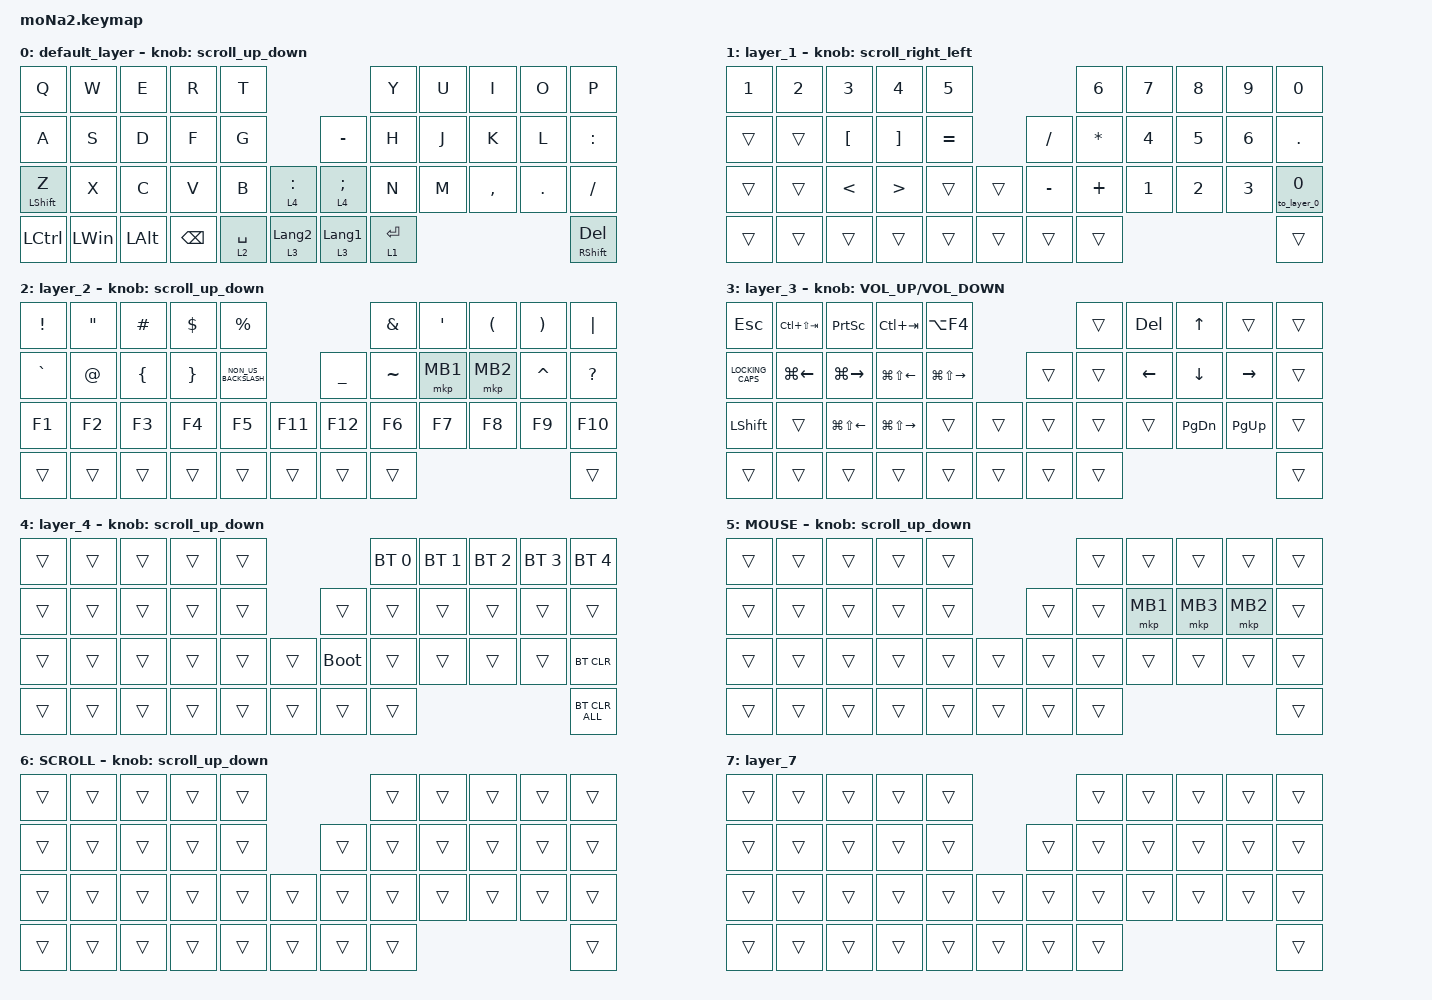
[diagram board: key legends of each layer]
#include <behaviors.dtsi>
#include <dt-bindings/zmk/bt.h>
#include <dt-bindings/zmk/keys.h>
#include <dt-bindings/zmk/pointing.h>

#define ZMK_POINTING_DEFAULT_SCRL_VAL 100
#define MOUSE 5
#define SCROLL 6

&mt {
    flavor = "balanced";
    quick-tap-ms = <0>;
};

/ {
    combos {
        compatible = "zmk,combos";

        layer4_esc {
            bindings = <&lt 3 ESCAPE>;
            key-positions = <38 39>;
        };

        tab {
            bindings = <&kp TAB>;
            key-positions = <11 11 12>;
        };
    };

    macros {
        to_layer_0: to_layer_0 {
            compatible = "zmk,behavior-macro-one-param";
            #binding-cells = <1>;
            bindings = <&to 0 &macro_param_1to1 &kp MACRO_PLACEHOLDER>;
            label = "TO_LAYER_0";
        };
    };

    behaviors {
        lt_to_layer_0: lt_to_layer_0 {
            compatible = "zmk,behavior-hold-tap";
            label = "LAYER_TAP_TO_0";
            bindings = <&mo>, <&to_layer_0>;

            #binding-cells = <2>;
            tapping-term-ms = <200>;
        };

        scroll_up_down: behavior_sensor_rotate_mouse_wheel_up_down {
            compatible = "zmk,behavior-sensor-rotate";
            #sensor-binding-cells = <0>;
            bindings = <&msc SCRL_UP>, <&msc SCRL_DOWN>;

            tap-ms = <20>;
        };

        scroll_right_left: behavior_sensor_rotate_mouse_wh {
            compatible = "zmk,behavior-sensor-rotate";
            label = "SCROLL_RIGHT_LEFT";
            #sensor-binding-cells = <0>;
            bindings = <&msc SCRL_LEFT>, <&msc SCRL_RIGHT>;

            tap-ms = <20>;
        };
    };

    keymap {
        compatible = "zmk,keymap";

        default_layer {
            bindings = <
&kp Q             &kp W         &kp E         &kp R          &kp T                                                              &kp Y        &kp U  &kp I      &kp O    &kp P
&kp A             &kp S         &kp D         &kp F          &kp G                                  &kp MINUS                   &kp H        &kp J  &kp K      &kp L    &kp COLON
&mt LEFT_SHIFT Z  &kp X         &kp C         &kp V          &kp B        &lt_to_layer_0 4 COLON    &lt_to_layer_0 4 SEMICOLON  &kp N        &kp M  &kp COMMA  &kp DOT  &kp SLASH
&kp LCTRL         &kp LEFT_WIN  &kp LEFT_ALT  &kp BACKSPACE  &lt 2 SPACE  &lt 3 LANGUAGE_2          &lt 3 LANGUAGE_1            &lt 1 ENTER                             &mt RIGHT_SHIFT DELETE
            >;

            sensor-bindings = <&scroll_up_down>;
        };

        layer_1 {
            bindings = <
&kp NUMBER_1  &kp NUMBER_2  &kp NUMBER_3      &kp NUMBER_4       &kp NUMBER_5                       &kp NUMBER_6  &kp NUMBER_7  &kp NUMBER_8  &kp NUMBER_9  &kp NUMBER_0
&trans        &trans        &kp LEFT_BRACKET  &kp RIGHT_BRACKET  &kp EQUAL               &kp SLASH  &kp ASTERISK  &kp NUMBER_4  &kp N5        &kp NUMBER_6  &kp PERIOD
&trans        &trans        &kp LESS_THAN     &kp GREATER_THAN   &trans        &trans    &kp MINUS  &kp PLUS      &kp NUMBER_1  &kp NUMBER_2  &kp NUMBER_3  &to_layer_0 N0
&trans        &trans        &trans            &trans             &trans        &trans    &trans     &trans                                                  &trans
            >;

            sensor-bindings = <&scroll_right_left>;
        };

        layer_2 {
            bindings = <
&kp EXCLAMATION  &kp DOUBLE_QUOTES  &kp HASH        &kp DOLLAR       &kp PERCENT                                      &kp AMPERSAND  &kp SQT   &kp LEFT_PARENTHESIS  &kp RIGHT_PARENTHESIS  &kp PIPE
&kp GRAVE        &kp AT_SIGN        &kp LEFT_BRACE  &kp RIGHT_BRACE  &kp NON_US_BACKSLASH             &kp UNDERSCORE  &kp TILDE      &mkp MB1  &mkp MB2              &kp CARET              &kp QUESTION
&kp F1           &kp F2             &kp F3          &kp F4           &kp F5                &kp F11    &kp F12         &kp F6         &kp F7    &kp F8                &kp F9                 &kp F10
&trans           &trans             &trans          &trans           &trans                &trans     &trans          &trans                                                                &trans
            >;

            sensor-bindings = <&scroll_up_down>;
        };

        layer_3 {
            bindings = <
&kp ESCAPE        &kp LC(LS(TAB))  &kp PRINTSCREEN   &kp LC(TAB)        &kp LA(F4)                           &trans  &kp DEL         &kp UP_ARROW    &trans       &trans
&kp LOCKING_CAPS  &kp LG(LEFT)     &kp LG(RIGHT)     &kp LG(LS(LEFT))   &kp LG(LS(RIGHT))            &trans  &trans  &kp LEFT_ARROW  &kp DOWN_ARROW  &kp RIGHT    &trans
&kp LEFT_SHIFT    &trans           &kp LG(LS(LEFT))  &kp LG(LS(RIGHT))  &trans             &trans    &trans  &trans  &trans          &kp PAGE_DOWN   &kp PAGE_UP  &trans
&trans            &trans           &trans            &trans             &trans             &trans    &trans  &trans                                               &trans
            >;

            sensor-bindings = <&inc_dec_kp C_VOLUME_UP C_VOLUME_DOWN>;
        };

        layer_4 {
            bindings = <
&trans  &trans  &trans  &trans  &trans                         &bt BT_SEL 0  &bt BT_SEL 1  &bt BT_SEL 2  &bt BT_SEL 3  &bt BT_SEL 4
&trans  &trans  &trans  &trans  &trans            &trans       &trans        &trans        &trans        &trans        &trans
&trans  &trans  &trans  &trans  &trans  &trans    &bootloader  &trans        &trans        &trans        &trans        &bt BT_CLR
&trans  &trans  &trans  &trans  &trans  &trans    &trans       &trans                                                  &bt BT_CLR_ALL
            >;

            sensor-bindings = <&scroll_up_down>;
        };

        MOUSE {
            bindings = <
&trans  &trans  &trans  &trans  &trans                    &trans  &trans    &trans    &trans    &trans
&trans  &trans  &trans  &trans  &trans            &trans  &trans  &mkp MB1  &mkp MB3  &mkp MB2  &trans
&trans  &trans  &trans  &trans  &trans  &trans    &trans  &trans  &trans    &trans    &trans    &trans
&trans  &trans  &trans  &trans  &trans  &trans    &trans  &trans                                &trans
            >;

            sensor-bindings = <&scroll_up_down>;
        };

        SCROLL {
            bindings = <
&trans  &trans  &trans  &trans  &trans                    &trans  &trans  &trans  &trans  &trans
&trans  &trans  &trans  &trans  &trans            &trans  &trans  &trans  &trans  &trans  &trans
&trans  &trans  &trans  &trans  &trans  &trans    &trans  &trans  &trans  &trans  &trans  &trans
&trans  &trans  &trans  &trans  &trans  &trans    &trans  &trans                          &trans
            >;

            sensor-bindings = <&scroll_up_down>;
        };

        layer_7 {
            bindings = <
&trans  &trans  &trans  &trans  &trans                    &trans  &trans  &trans  &trans  &trans
&trans  &trans  &trans  &trans  &trans            &trans  &trans  &trans  &trans  &trans  &trans
&trans  &trans  &trans  &trans  &trans  &trans    &trans  &trans  &trans  &trans  &trans  &trans
&trans  &trans  &trans  &trans  &trans  &trans    &trans  &trans                          &trans
            >;
        };
    };
};
